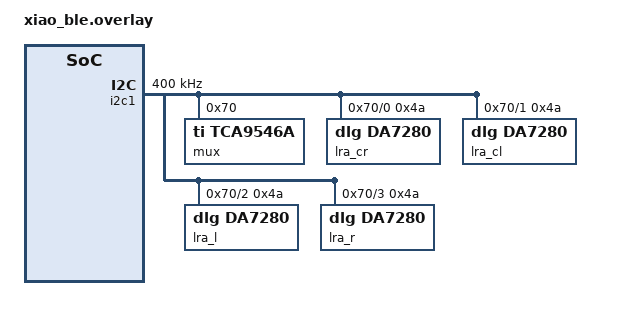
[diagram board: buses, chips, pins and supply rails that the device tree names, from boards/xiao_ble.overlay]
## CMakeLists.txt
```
cmake_minimum_required(VERSION 3.20.0)

# Register the out-of-tree DA7280 haptic driver as a Zephyr module before
# find_package() so its DT bindings, Kconfig, and CMakeLists are picked up.
list(APPEND ZEPHYR_EXTRA_MODULES
    "${CMAKE_CURRENT_LIST_DIR}/../modules/da7280-haptic"
)

find_package(Zephyr REQUIRED HINTS $ENV{ZEPHYR_BASE})

project(hapnav_wristband VERSION 0.1.0)

target_sources(app PRIVATE
    src/main.c
    src/ble.c
)

# Shared BLE protocol header (attaches itself to `app`).
add_subdirectory(${CMAKE_CURRENT_LIST_DIR}/../lib/ble ${CMAKE_BINARY_DIR}/_lib_ble)

# High-level haptic policy + selftest harness (talks to the DA7280 driver
# which is provided by the modules/da7280-haptic Zephyr module above).
add_subdirectory(${CMAKE_CURRENT_LIST_DIR}/../lib/haptics ${CMAKE_BINARY_DIR}/_lib_haptics)
```

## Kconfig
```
# SPDX-License-Identifier: Apache-2.0
#
# Application Kconfig — chains in subsystem Kconfigs so symbols like
# CONFIG_HAPNAV_SELFTEST resolve through prj.conf and `west build` -DCONFIG_*.

rsource "../lib/haptics/Kconfig"

source "Kconfig.zephyr"
```

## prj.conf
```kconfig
# ── Core ──────────────────────────────────────────────────────────────────────
CONFIG_GPIO=y
CONFIG_I2C=y

# ── I2C mux + DA7280 driver ───────────────────────────────────────────────────
# The TI TCA954X driver also covers the NXP PCA9546A on our wristband; it
# publishes each mux channel as a virtual i2c bus so we don't have to do
# manual channel-select between transactions.
CONFIG_I2C_TCA954X=y
# Channel-bus init must happen *after* the root mux is brought up.
CONFIG_I2C_TCA954X_CHANNEL_INIT_PRIO=70

# Out-of-tree haptic driver (modules/da7280-haptic, registered in CMakeLists).
CONFIG_HAPTIC_DA7280=y
# Defang chips at boot before applying config — prevents stuck-on actuators
# if the host MCU resets while the DA7280 keeps power.
CONFIG_HAPTIC_DA7280_SAFE_INIT=y
# Hard backstop on summed amplitude across all four chips. Sized just above
# 4 × per-channel-drive-cap (4 × 60 = 240) so the per-channel ceiling is the
# real limit; this only catches a runaway that breaks the per-channel rule.
# Policy still scales proportionally at 150 well below this number.
CONFIG_HAPTIC_DA7280_TOTAL_DRIVE_CAP=250
CONFIG_HAPTIC_DA7280_USE_SYSTEM_WORKQUEUE=y

# ── HapNav haptic policy ──────────────────────────────────────────────────────
CONFIG_HAPNAV_HAPTICS=y
# Toggle this on for bench validation (disables BLE-driven reactions and runs
# the comprehensive selftest sequence). Off for normal navigation.
CONFIG_HAPNAV_SELFTEST=n

# ── BLE (peripheral role: hosts GATT server) ──────────────────────────────────
CONFIG_BT=y
CONFIG_BT_PERIPHERAL=y
CONFIG_BT_DEVICE_NAME="HapNav-Wrist"
CONFIG_BT_MAX_CONN=1

# Match the pin's MTU so a 219-byte combined frame lands in one PDU.
CONFIG_BT_BUF_ACL_RX_SIZE=251
CONFIG_BT_BUF_ACL_TX_SIZE=251
CONFIG_BT_L2CAP_TX_MTU=247

# Floats in printk for quaternion JSON.
CONFIG_CBPRINTF_FP_SUPPORT=y
CONFIG_FPU=y

# Worker thread runs the 20 Hz drive loop; bump its stack a touch since
# logging from inside it can spike usage.
CONFIG_SYSTEM_WORKQUEUE_STACK_SIZE=2048

# ── Logging ───────────────────────────────────────────────────────────────────
# Minimal mode strips timestamps and module prefixes from LOG_*(), so the few
# status lines (connect/disconnect/init) print as plain text and the JSON
# stream we emit via printk() stays unframed.
CONFIG_LOG=y
CONFIG_LOG_MODE_MINIMAL=y
```

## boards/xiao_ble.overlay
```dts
/*
 * Board overlay for Seeed XIAO nRF52840 (haptic wristband).
 *
 * I2C topology (XIAO Qwiic header → SoC i2c1):
 *   i2c1 ── tca9546a@70 (NXP PCA9546A-compatible mux)
 *           ├── ch0 → DA7280 @ 0x4A   CENTER-RIGHT
 *           ├── ch1 → DA7280 @ 0x4A   CENTER-LEFT
 *           ├── ch2 → DA7280 @ 0x4A   LEFT
 *           └── ch3 → DA7280 @ 0x4A   RIGHT
 *
 * The four DA7280s share the same 7-bit I2C address; the mux isolates
 * them. Zephyr's `ti,tca9546a` driver (binding header note: "compatible
 * with NXP PCA9546A") publishes each channel as a virtual i2c bus, so
 * each DA7280 lives at 0x4A on its own child bus and the rest of the
 * stack never has to touch the mux directly.
 *
 * `i2c-mux-idle-disconnect` makes the mux drop all channels between
 * transactions — the safety net that prevents a stray write to 0x4A on
 * the parent bus from reaching any actuator.
 *
 * `i2c1` is the bus the xiao_ble board file routes to D4 (SDA) / D5 (SCL).
 * The board common dtsi already enables it and assigns pinctrl, so this
 * overlay just raises the bus rate and hangs the mux off it.
 */

&i2c1 {
	clock-frequency = <I2C_BITRATE_FAST>;	/* 400 kHz */
	status = "okay";

	mux: tca9546a@70 {
		compatible = "ti,tca9546a";
		reg = <0x70>;
		status = "okay";
		#address-cells = <1>;
		#size-cells = <0>;
		i2c-mux-idle-disconnect;

		mux_ch0: mux_i2c@0 {
			reg = <0>;
			#address-cells = <1>;
			#size-cells = <0>;

			lra_cr: da7280@4a {
				compatible = "dlg,da7280";
				reg = <0x4a>;
				/*
				 * Vybronics VLV101040A coin LRA — tuned from the
				 * Renesas reference register dump in
				 * TempRefs/VLV101040A_config/VLV101040A_config.txt.
				 *
				 * Reference dump:
				 *   ACTUATOR1=0x6B → nom 2.48 V RMS
				 *   ACTUATOR2=0x6B → abs-max 2.48 V RMS
				 *   ACTUATOR3=0x1F → imax 244.6 mA
				 *   FRQ_LRA_PER_H/L = 0x22/0x3C → ~170 Hz
				 *   TOP_CFG1 bits 3,4 set → FREQ_TRACK + BEMF
				 *   TOP_CFG2[3:0]=1 → full-brake-thr=1
				 *
				 * On top of that we keep our own acc-enable and
				 * rapid-stop-enable (Renesas leaves both off) so
				 * the knock-style pulses get a quick attack and a
				 * crisp brake between knocks.
				 */
				dlg,actuator-type = "LRA";
				dlg,resonant-freq-hz = <170>;
				dlg,nom-microvolt     = <2480000>;
				dlg,abs-max-microvolt = <2480000>;
				dlg,imax-microamp     = <244600>;
				dlg,bemf-sens-enable;
				dlg,freq-track-enable;
				dlg,acc-enable;
				dlg,rapid-stop-enable;
				full-brake-thr = <1>;
				per-channel-drive-cap = <60>;
			};
		};

		mux_ch1: mux_i2c@1 {
			reg = <1>;
			#address-cells = <1>;
			#size-cells = <0>;

			lra_cl: da7280@4a {
				compatible = "dlg,da7280";
				reg = <0x4a>;
				/*
				 * Vybronics VLV101040A coin LRA — tuned from the
				 * Renesas reference register dump in
				 * TempRefs/VLV101040A_config/VLV101040A_config.txt.
				 *
				 * Reference dump:
				 *   ACTUATOR1=0x6B → nom 2.48 V RMS
				 *   ACTUATOR2=0x6B → abs-max 2.48 V RMS
				 *   ACTUATOR3=0x1F → imax 244.6 mA
				 *   FRQ_LRA_PER_H/L = 0x22/0x3C → ~170 Hz
				 *   TOP_CFG1 bits 3,4 set → FREQ_TRACK + BEMF
				 *   TOP_CFG2[3:0]=1 → full-brake-thr=1
				 *
				 * On top of that we keep our own acc-enable and
				 * rapid-stop-enable (Renesas leaves both off) so
				 * the knock-style pulses get a quick attack and a
				 * crisp brake between knocks.
				 */
				dlg,actuator-type = "LRA";
				dlg,resonant-freq-hz = <170>;
				dlg,nom-microvolt     = <2480000>;
				dlg,abs-max-microvolt = <2480000>;
				dlg,imax-microamp     = <244600>;
				dlg,bemf-sens-enable;
				dlg,freq-track-enable;
				dlg,acc-enable;
				dlg,rapid-stop-enable;
				full-brake-thr = <1>;
				per-channel-drive-cap = <60>;
			};
		};

		mux_ch2: mux_i2c@2 {
			reg = <2>;
			#address-cells = <1>;
			#size-cells = <0>;

			lra_l: da7280@4a {
				compatible = "dlg,da7280";
				reg = <0x4a>;
				/*
				 * Vybronics VLV101040A coin LRA — tuned from the
				 * Renesas reference register dump in
				 * TempRefs/VLV101040A_config/VLV101040A_config.txt.
				 *
				 * Reference dump:
				 *   ACTUATOR1=0x6B → nom 2.48 V RMS
				 *   ACTUATOR2=0x6B → abs-max 2.48 V RMS
				 *   ACTUATOR3=0x1F → imax 244.6 mA
				 *   FRQ_LRA_PER_H/L = 0x22/0x3C → ~170 Hz
				 *   TOP_CFG1 bits 3,4 set → FREQ_TRACK + BEMF
				 *   TOP_CFG2[3:0]=1 → full-brake-thr=1
				 *
				 * On top of that we keep our own acc-enable and
				 * rapid-stop-enable (Renesas leaves both off) so
				 * the knock-style pulses get a quick attack and a
				 * crisp brake between knocks.
				 */
				dlg,actuator-type = "LRA";
				dlg,resonant-freq-hz = <170>;
				dlg,nom-microvolt     = <2480000>;
				dlg,abs-max-microvolt = <2480000>;
				dlg,imax-microamp     = <244600>;
				dlg,bemf-sens-enable;
				dlg,freq-track-enable;
				dlg,acc-enable;
				dlg,rapid-stop-enable;
				full-brake-thr = <1>;
				per-channel-drive-cap = <60>;
			};
		};

		mux_ch3: mux_i2c@3 {
			reg = <3>;
			#address-cells = <1>;
			#size-cells = <0>;

			lra_r: da7280@4a {
				compatible = "dlg,da7280";
				reg = <0x4a>;
				/*
				 * Vybronics VLV101040A coin LRA — tuned from the
				 * Renesas reference register dump in
				 * TempRefs/VLV101040A_config/VLV101040A_config.txt.
				 *
				 * Reference dump:
				 *   ACTUATOR1=0x6B → nom 2.48 V RMS
				 *   ACTUATOR2=0x6B → abs-max 2.48 V RMS
				 *   ACTUATOR3=0x1F → imax 244.6 mA
				 *   FRQ_LRA_PER_H/L = 0x22/0x3C → ~170 Hz
				 *   TOP_CFG1 bits 3,4 set → FREQ_TRACK + BEMF
				 *   TOP_CFG2[3:0]=1 → full-brake-thr=1
				 *
				 * On top of that we keep our own acc-enable and
				 * rapid-stop-enable (Renesas leaves both off) so
				 * the knock-style pulses get a quick attack and a
				 * crisp brake between knocks.
				 */
				dlg,actuator-type = "LRA";
				dlg,resonant-freq-hz = <170>;
				dlg,nom-microvolt     = <2480000>;
				dlg,abs-max-microvolt = <2480000>;
				dlg,imax-microamp     = <244600>;
				dlg,bemf-sens-enable;
				dlg,freq-track-enable;
				dlg,acc-enable;
				dlg,rapid-stop-enable;
				full-brake-thr = <1>;
				per-channel-drive-cap = <60>;
			};
		};
	};
};

/ {
	aliases {
		hapnav-lra-l  = &lra_l;
		hapnav-lra-cl = &lra_cl;
		hapnav-lra-cr = &lra_cr;
		hapnav-lra-r  = &lra_r;
	};
};
```

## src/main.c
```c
#include "ble.h"

#include <hapnav/haptics.h>

#include <zephyr/kernel.h>
#include <zephyr/logging/log.h>

LOG_MODULE_REGISTER(hapnav_wristband, LOG_LEVEL_INF);

int main(void)
{
	int err = hapnav_haptics_init();
	if (err) {
		/* Boot without motors rather than dying — BLE still useful
		 * for debugging the link and inspecting incoming frames. */
		LOG_WRN("Haptics init failed (%d) — running without motors", err);
	}

	if (wrist_ble_init() != 0) {
		return -EIO;
	}
	/* Everything else happens in BT callbacks + the haptics worker. */
	return 0;
}
```

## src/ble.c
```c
#include "ble.h"

#include <hapnav/ble_proto.h>
#include <hapnav/haptics.h>

#include <zephyr/kernel.h>
#include <zephyr/logging/log.h>
#include <zephyr/bluetooth/bluetooth.h>
#include <zephyr/bluetooth/conn.h>
#include <zephyr/bluetooth/gatt.h>
#include <zephyr/bluetooth/uuid.h>
#include <zephyr/sys/printk.h>

#include <stdint.h>
#include <string.h>

LOG_MODULE_REGISTER(wrist_ble, LOG_LEVEL_INF);

static struct bt_uuid_128 svc_uuid   = BT_UUID_INIT_128(HAPNAV_UUID_SVC_VAL);
static struct bt_uuid_128 frame_uuid = BT_UUID_INIT_128(HAPNAV_UUID_FRAME_VAL);

/*
 * Emit only what the wristband actually consumes from each frame —
 * timestamp + obstacles block — as a single-line JSON record. The full
 * frame still arrives over BLE; we just don't dump the 64-pixel ToF
 * arrays and the quaternion since the haptic policy ignores them.
 *
 * printk goes straight to UART (no Zephyr LOG decoration), so the
 * resulting stream is trivial to parse downstream.
 */
static void print_frame_json(const struct hapnav_frame *f)
{
	const struct hapnav_obstacles *o = &f->obstacles;
	printk("RX {\"ts\":%u,\"urg\":[%u,%u,%u,%u],"
	       "\"near_mm\":%d,\"flags\":\"0x%02x\"}\n",
	       f->timestamp_ms,
	       o->urgency[0], o->urgency[1], o->urgency[2], o->urgency[3],
	       (int)o->nearest_range_mm, (unsigned)o->flags);
}

static ssize_t frame_write(struct bt_conn *conn,
			   const struct bt_gatt_attr *attr,
			   const void *buf, uint16_t len,
			   uint16_t offset, uint8_t flags)
{
	ARG_UNUSED(conn);
	ARG_UNUSED(attr);
	ARG_UNUSED(flags);

	if (offset != 0 || len != HAPNAV_FRAME_SIZE) {
		return BT_GATT_ERR(BT_ATT_ERR_INVALID_ATTRIBUTE_LEN);
	}

	struct hapnav_frame f;
	memcpy(&f, buf, sizeof(f));
	hapnav_haptics_consume_frame(&f);
	print_frame_json(&f);
	return len;
}

BT_GATT_SERVICE_DEFINE(hn_svc,
	BT_GATT_PRIMARY_SERVICE(&svc_uuid),

	BT_GATT_CHARACTERISTIC(&frame_uuid.uuid,
			       BT_GATT_CHRC_WRITE_WITHOUT_RESP,
			       BT_GATT_PERM_WRITE,
			       NULL, frame_write, NULL),
);

static const struct bt_data ad[] = {
	BT_DATA_BYTES(BT_DATA_FLAGS, (BT_LE_AD_GENERAL | BT_LE_AD_NO_BREDR)),
	BT_DATA_BYTES(BT_DATA_UUID128_ALL, HAPNAV_UUID_SVC_VAL),
};

static const struct bt_data sd[] = {
	BT_DATA(BT_DATA_NAME_COMPLETE, "HapNav-Wrist", sizeof("HapNav-Wrist") - 1),
};

static void connected(struct bt_conn *conn, uint8_t err)
{
	ARG_UNUSED(conn);
	if (err) {
		LOG_ERR("Connection failed (0x%02x)", err);
	} else {
		LOG_INF("Connected to central");
	}
}

static void disconnected(struct bt_conn *conn, uint8_t reason)
{
	ARG_UNUSED(conn);
	LOG_INF("Disconnected (reason 0x%02x) — restarting advertising", reason);

	/* The previous behaviour was to log and fall silent, which meant a pin
	 * reset (or any other ungraceful drop) left the wristband sitting in
	 * "not connected, not advertising" — the pin could never re-discover
	 * it without a wristband power-cycle. Re-arming advertising here makes
	 * the wristband immediately findable again. bt_le_adv_start with no
	 * timeout option advertises indefinitely until the next connection,
	 * so this satisfies the "stay findable for at least a few minutes"
	 * requirement with margin. */
	int err = bt_le_adv_start(BT_LE_ADV_CONN_FAST_1,
				  ad, ARRAY_SIZE(ad),
				  sd, ARRAY_SIZE(sd));
	if (err) {
		LOG_ERR("Re-advertising failed: %d", err);
	}
}

BT_CONN_CB_DEFINE(conn_callbacks) = {
	.connected    = connected,
	.disconnected = disconnected,
};

int wrist_ble_init(void)
{
	int err = bt_enable(NULL);
	if (err) {
		LOG_ERR("bt_enable failed: %d", err);
		return err;
	}
	LOG_INF("Bluetooth initialised");

	err = bt_le_adv_start(BT_LE_ADV_CONN_FAST_1,
			      ad, ARRAY_SIZE(ad),
			      sd, ARRAY_SIZE(sd));
	if (err) {
		LOG_ERR("Advertising failed: %d", err);
		return err;
	}
	LOG_INF("Advertising as HapNav-Wrist");
	return 0;
}
```

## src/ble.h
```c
/*
 * Wristband-side BLE (peripheral role).
 *
 *   wrist_ble_init() — start the stack, register GATT, advertise.
 *
 * After init, all work happens in BT callbacks: incoming IMU samples are
 * unpacked, converted to engineering units, and logged with a one-way
 * latency estimate.
 */
#ifndef HAPNAV_WRIST_BLE_H_
#define HAPNAV_WRIST_BLE_H_

int wrist_ble_init(void);

#endif /* HAPNAV_WRIST_BLE_H_ */
```
